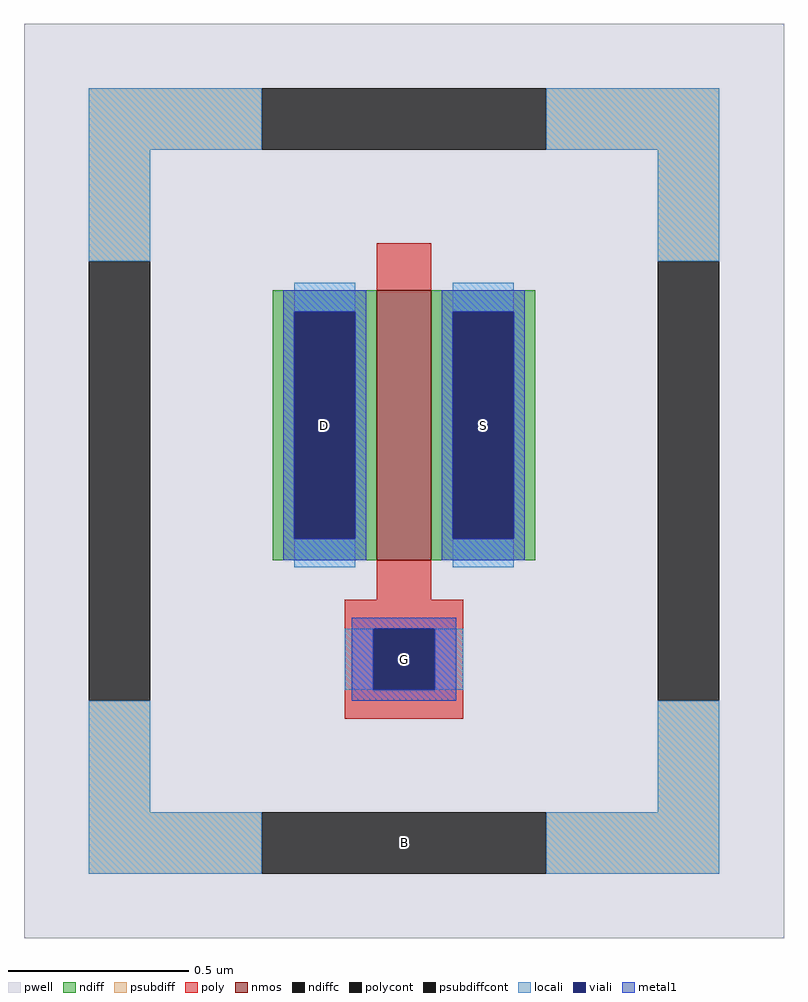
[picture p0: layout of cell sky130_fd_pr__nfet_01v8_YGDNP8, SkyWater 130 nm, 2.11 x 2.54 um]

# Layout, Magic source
magic
tech sky130A
magscale 1 2
<< pwell >>
rect -211 -254 211 254
<< nmos >>
rect -15 -44 15 106
<< ndiff >>
rect -73 94 -15 106
rect -73 -32 -61 94
rect -27 -32 -15 94
rect -73 -44 -15 -32
rect 15 94 73 106
rect 15 -32 27 94
rect 61 -32 73 94
rect 15 -44 73 -32
<< ndiffc >>
rect -61 -32 -27 94
rect 27 -32 61 94
<< psubdiff >>
rect -175 184 -79 218
rect 79 184 175 218
rect -175 122 -141 184
rect 141 122 175 184
rect -175 -184 -141 -122
rect 141 -184 175 -122
rect -175 -218 -79 -184
rect 79 -218 175 -184
<< psubdiffcont >>
rect -79 184 79 218
rect -175 -122 -141 122
rect 141 -122 175 122
rect -79 -218 79 -184
<< poly >>
rect -15 106 15 132
rect -15 -66 15 -44
rect -33 -82 33 -66
rect -33 -116 -17 -82
rect 17 -116 33 -82
rect -33 -132 33 -116
<< polycont >>
rect -17 -116 17 -82
<< locali >>
rect -175 184 -79 218
rect 79 184 175 218
rect -175 122 -141 184
rect 141 122 175 184
rect -61 94 -27 110
rect -61 -48 -27 -32
rect 27 94 61 110
rect 27 -48 61 -32
rect -33 -116 -17 -82
rect 17 -116 33 -82
rect -175 -184 -141 -122
rect 141 -184 175 -122
rect -175 -218 -79 -184
rect 79 -218 175 -184
<< viali >>
rect -61 -32 -27 94
rect 27 -32 61 94
rect -17 -116 17 -82
<< metal1 >>
rect -67 94 -21 106
rect -67 -32 -61 94
rect -27 -32 -21 94
rect -67 -44 -21 -32
rect 21 94 67 106
rect 21 -32 27 94
rect 61 -32 67 94
rect 21 -44 67 -32
rect -29 -82 29 -76
rect -29 -116 -17 -82
rect 17 -116 29 -82
rect -29 -122 29 -116
<< labels >>
rlabel psubdiffcont 0 -201 0 -201 0 B
port 1 nsew
rlabel ndiffc -44 31 -44 31 0 D
port 2 nsew
rlabel ndiffc 44 31 44 31 0 S
port 3 nsew
rlabel polycont 0 -99 0 -99 0 G
port 4 nsew
<< properties >>
string FIXED_BBOX -158 -201 158 201
string gencell sky130_fd_pr__nfet_01v8
string library sky130
string parameters w 0.75 l 0.15 m 1 nf 1 diffcov 100 polycov 100 guard 1 glc 1 grc 1 gtc 1 gbc 1 tbcov 100 rlcov 100 topc 0 botc 1 poverlap 0 doverlap 1 lmin 0.15 wmin 0.42 class mosfet compatible {sky130_fd_pr__nfet_01v8 sky130_fd_pr__nfet_01v8_lvt  sky130_fd_bs_flash__special_sonosfet_star  sky130_fd_pr__nfet_g5v0d10v5 sky130_fd_pr__nfet_05v0_nvt  sky130_fd_pr__nfet_03v3_nvt} full_metal 1 viasrc 100 viadrn 100 viagate 100 viagb 0 viagr 0 viagl 0 viagt 0 doports 1
<< end >>
